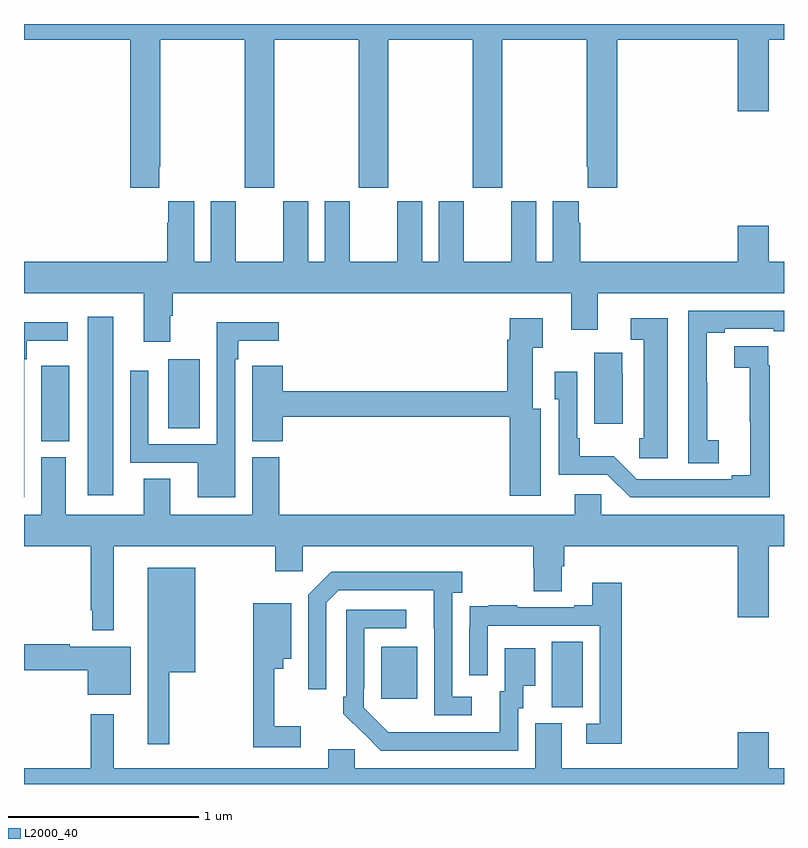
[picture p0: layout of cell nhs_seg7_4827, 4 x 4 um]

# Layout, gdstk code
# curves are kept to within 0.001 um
import gdstk
lib = gdstk.Library(unit=1e-6, precision=1e-09)
def R(c, l, rs):  # rectangles x0, y0, x1, y1
    for r in rs: c.add(gdstk.rectangle(r[:2], r[2:], *l))
def P(c, l, *ps):  # polygons
    for p in ps: c.add(gdstk.Polygon(p, *l))
L2000_40 = (2000, 40)

nhs_seg7_4827 = lib.new_cell('nhs_seg7_4827')
R(nhs_seg7_4827, L2000_40, [(415.778,1030.405,415.942,1030.748), (414.881,1030.449,415.069,1030.723), (413.336,1031.52,413.47,1032.46), (413.09,1031.805,413.239,1032.202), (413.759,1031.872,413.926,1032.235)])
P(nhs_seg7_4827, L2000_40, [(413,1033.916),(413.558,1033.916),(413.558,1033.137),(413.713,1033.137),(413.713,1033.249),(413.718,1033.249),(413.718,1033.916),(414.163,1033.916),(414.163,1033.137),(414.318,1033.137),(414.318,1033.916),(414.763,1033.916),(414.763,1033.137),(414.918,1033.137),(414.918,1033.916),(415.363,1033.916),(415.363,1033.137),(415.518,1033.137),(415.518,1033.916),(415.963,1033.916),(415.963,1033.249),(415.967,1033.249),(415.967,1033.137),(416.123,1033.137),(416.123,1033.916),(416.756,1033.916),(416.756,1033.542),(416.92,1033.542),(416.92,1033.916),(417,1033.916),(417,1034),(413,1034)],
  [(415.784,1033.066),(415.784,1032.748),(415.696,1032.748),(415.696,1033.066),(415.565,1033.066),(415.565,1032.748),(415.315,1032.748),(415.315,1033.066),(415.184,1033.066),(415.184,1032.748),(415.096,1032.748),(415.096,1033.066),(414.965,1033.066),(414.965,1032.748),(414.715,1032.748),(414.715,1033.066),(414.584,1033.066),(414.584,1032.748),(414.496,1032.748),(414.496,1033.066),(414.365,1033.066),(414.365,1032.748),(414.115,1032.748),(414.115,1033.066),(413.984,1033.066),(413.984,1032.748),(413.896,1032.748),(413.896,1033.066),(413.759,1033.066),(413.759,1032.953),(413.753,1032.953),(413.753,1032.748),(413,1032.748),(413,1032.584),(413.63,1032.584),(413.63,1032.327),(413.77,1032.327),(413.77,1032.464),(413.783,1032.464),(413.783,1032.584),(415.88,1032.584),(415.88,1032.39),(416.02,1032.39),(416.02,1032.584),(417,1032.584),(417,1032.748),(416.92,1032.748),(416.92,1032.937),(416.756,1032.937),(416.756,1032.748),(415.928,1032.748),(415.928,1032.953),(415.921,1032.953),(415.921,1033.066)],
  [(416.656,1031.809),(416.595,1031.809),(416.595,1032.113),(416.593,1032.113),(416.593,1032.376),(416.689,1032.376),(416.689,1032.396),(416.945,1032.396),(416.945,1032.382),(417,1032.382),(417,1032.492),(416.496,1032.492),(416.496,1031.689),(416.656,1031.689)],
  [(416.389,1032.451),(416.193,1032.451),(416.193,1032.339),(416.261,1032.339),(416.261,1031.82),(416.239,1031.82),(416.239,1031.715),(416.389,1031.715)],
  [(415.72,1031.974),(415.678,1031.974),(415.678,1032.295),(415.729,1032.295),(415.729,1032.451),(415.556,1032.451),(415.556,1032.338),(415.544,1032.338),(415.544,1032.068),(414.362,1032.068),(414.362,1032.202),(414.201,1032.202),(414.201,1032.089),(414.2,1032.089),(414.2,1031.805),(414.362,1031.805),(414.362,1031.932),(415.556,1031.932),(415.556,1031.517),(415.72,1031.517)],
  [(413.001,1032.236),(413.014,1032.236),(413.014,1032.332),(413.23,1032.332),(413.23,1032.43),(413,1032.43),(413,1031.51),(413.001,1031.51)],
  [(414.111,1032.236),(414.127,1032.236),(414.127,1032.332),(414.34,1032.332),(414.34,1032.43),(414.015,1032.43),(414.015,1031.787),(413.655,1031.787),(413.655,1032.175),(413.559,1032.175),(413.559,1031.691),(413.915,1031.691),(413.915,1031.51),(414.111,1031.51)],
  [(416.924,1032.203),(416.918,1032.203),(416.918,1032.305),(416.739,1032.305),(416.739,1032.19),(416.821,1032.19),(416.822,1031.624),(416.726,1031.624),(416.726,1031.604),(416.226,1031.604),(416.105,1031.725),(415.924,1031.725),(415.924,1031.821),(415.911,1031.821),(415.911,1032.169),(415.794,1032.169),(415.794,1032.024),(415.815,1032.024),(415.815,1031.628),(416.07,1031.628),(416.19,1031.508),(416.924,1031.508)],
  [(416.152,1032.158),(416.149,1032.158),(416.149,1032.271),(416,1032.271),(416,1031.895),(416.152,1031.895)],
  [(413.473,1031.252),(414.322,1031.252),(414.322,1031.121),(414.468,1031.121),(414.468,1031.252),(415.679,1031.252),(415.679,1031.139),(415.684,1031.139),(415.684,1031.014),(415.831,1031.014),(415.831,1031.146),(415.844,1031.146),(415.844,1031.252),(416.756,1031.252),(416.756,1030.878),(416.92,1030.878),(416.92,1031.252),(417,1031.252),(417,1031.416),(416.037,1031.416),(416.037,1031.526),(415.898,1031.526),(415.898,1031.416),(414.344,1031.416),(414.344,1031.721),(414.2,1031.721),(414.2,1031.416),(413.77,1031.416),(413.77,1031.606),(413.63,1031.606),(413.63,1031.416),(413.221,1031.416),(413.221,1031.721),(413.09,1031.721),(413.09,1031.416),(413,1031.416),(413,1031.252),(413.352,1031.252),(413.352,1030.915),(413.358,1030.915),(413.358,1030.808),(413.473,1030.808)],
  [(413.765,1030.589),(413.902,1030.589),(413.902,1031.137),(413.651,1031.137),(413.651,1030.209),(413.765,1030.209)],
  [(415.357,1030.458),(415.254,1030.458),(415.254,1031.006),(415.306,1031.006),(415.306,1031.116),(414.616,1031.116),(414.495,1030.995),(414.495,1030.5),(414.591,1030.5),(414.591,1030.953),(414.657,1031.019),(415.157,1031.019),(415.158,1030.362),(415.357,1030.362)],
  [(416.147,1031.059),(415.991,1031.059),(415.991,1030.942),(415.895,1030.942),(415.895,1030.929),(415.595,1030.929),(415.595,1030.942),(415.447,1030.942),(415.447,1030.935),(415.345,1030.935),(415.345,1030.826),(415.344,1030.826),(415.344,1030.572),(415.44,1030.572),(415.44,1030.833),(416.031,1030.833),(416.031,1030.317),(415.959,1030.317),(415.959,1030.212),(416.147,1030.212)],
  [(414.457,1030.303),(414.317,1030.303),(414.317,1030.607),(414.364,1030.607),(414.364,1030.658),(414.406,1030.658),(414.406,1030.951),(414.206,1030.951),(414.206,1030.711),(414.207,1030.711),(414.207,1030.194),(414.457,1030.194)],
  [(415.602,1030.398),(415.627,1030.398),(415.627,1030.517),(415.69,1030.517),(415.69,1030.714),(415.529,1030.714),(415.529,1030.488),(415.505,1030.488),(415.505,1030.272),(414.918,1030.273),(414.789,1030.401),(414.789,1030.501),(414.792,1030.501),(414.792,1030.821),(415.012,1030.821),(415.012,1030.917),(414.696,1030.917),(414.696,1030.459),(414.681,1030.459),(414.681,1030.371),(414.878,1030.176),(415.602,1030.176)],
  [(413.563,1030.723),(413.24,1030.723),(413.24,1030.736),(413,1030.736),(413,1030.6),(413.336,1030.6),(413.336,1030.469),(413.563,1030.469)],
  [(416.756,1030.273),(416.756,1030.084),(415.831,1030.084),(415.831,1030.32),(415.691,1030.32),(415.691,1030.084),(414.741,1030.084),(414.741,1030.182),(414.602,1030.182),(414.602,1030.084),(413.473,1030.084),(413.473,1030.366),(413.352,1030.366),(413.352,1030.084),(413,1030.084),(413,1030),(417,1030),(417,1030.084),(416.92,1030.084),(416.92,1030.273)])

lib.write_gds('nhs_seg7_4827.gds')
